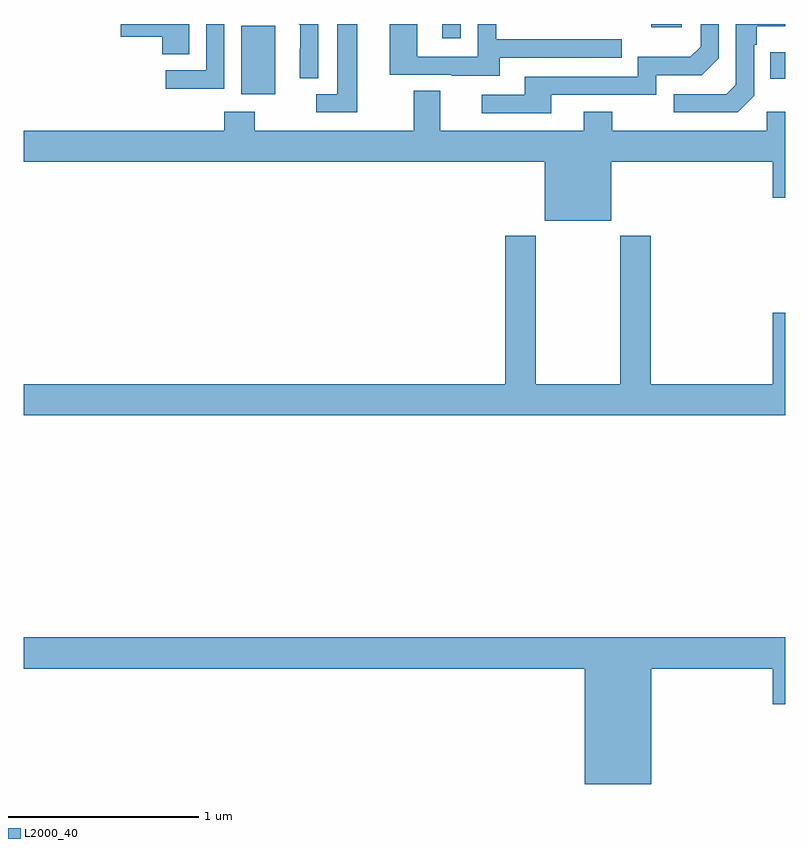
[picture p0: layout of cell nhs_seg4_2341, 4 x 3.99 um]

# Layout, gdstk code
import gdstk
lib = gdstk.Library(unit=1e-6, precision=1e-09)
def R(c, l, rs):  # rectangles x0, y0, x1, y1
    for r in rs: c.add(gdstk.rectangle(r[:2], r[2:], *l))
def P(c, l, *ps):  # polygons
    for p in ps: c.add(gdstk.Polygon(p, *l))
L2000_40 = (2000, 40)

nhs_seg4_2341 = lib.new_cell('nhs_seg4_2341')
R(nhs_seg4_2341, L2000_40, [(234.143,774.53,234.322,774.891), (236.923,774.611,237,774.751), (235.199,774.825,235.296,774.9), (236.297,774.884,236.458,774.9)])
P(nhs_seg4_2341, L2000_40, [(234.751,774.9),(234.647,774.9),(234.647,774.531),(234.537,774.531),(234.537,774.435),(234.751,774.435)],
  [(234.546,774.9),(234.445,774.9),(234.452,774.893),(234.452,774.77),(234.45,774.77),(234.45,774.616),(234.546,774.616)],
  [(234.054,774.9),(233.958,774.9),(233.958,774.657),(233.745,774.657),(233.745,774.559),(234.054,774.559)],
  [(235.501,774.723),(236.141,774.723),(236.141,774.819),(235.482,774.819),(235.482,774.9),(235.386,774.9),(235.386,774.729),(235.068,774.729),(235.068,774.9),(234.923,774.9),(234.923,774.633),(235.247,774.633),(235.247,774.629),(235.501,774.629)],
  [(235.771,774.528),(236.322,774.528),(236.322,774.63),(236.562,774.63),(236.652,774.72),(236.652,774.9),(236.556,774.9),(236.556,774.78),(236.503,774.727),(236.226,774.727),(236.226,774.624),(235.631,774.624),(235.631,774.528),(235.407,774.528),(235.407,774.432),(235.771,774.432)],
  [(236.838,774.522),(236.838,774.791),(236.851,774.791),(236.851,774.887),(237,774.887),(237,774.9),(236.742,774.9),(236.742,774.582),(236.691,774.531),(236.415,774.531),(236.415,774.435),(236.751,774.435)],
  [(233.869,774.9),(233.508,774.9),(233.508,774.833),(233.726,774.833),(233.726,774.742),(233.869,774.742)],
  [(236.086,774.176),(236.936,774.176),(236.936,773.988),(237,773.988),(237,774.439),(236.904,774.439),(236.904,774.34),(236.091,774.34),(236.091,774.439),(235.943,774.439),(235.943,774.34),(235.189,774.34),(235.189,774.548),(235.049,774.548),(235.049,774.34),(234.213,774.34),(234.213,774.439),(234.053,774.439),(234.053,774.34),(233,774.34),(233,774.176),(235.736,774.176),(235.736,773.867),(236.086,773.867)],
  [(237,773.383),(236.936,773.383),(236.936,773.008),(236.294,773.008),(236.294,773.788),(236.134,773.788),(236.134,773.008),(235.689,773.008),(235.689,773.788),(235.529,773.788),(235.529,773.008),(233,773.008),(233,772.844),(237,772.844)],
  [(236.296,771.512),(236.936,771.512),(236.936,771.324),(237,771.324),(237,771.676),(233,771.676),(233,771.512),(235.946,771.512),(235.946,770.906),(236.296,770.906)])

lib.write_gds('nhs_seg4_2341.gds')
